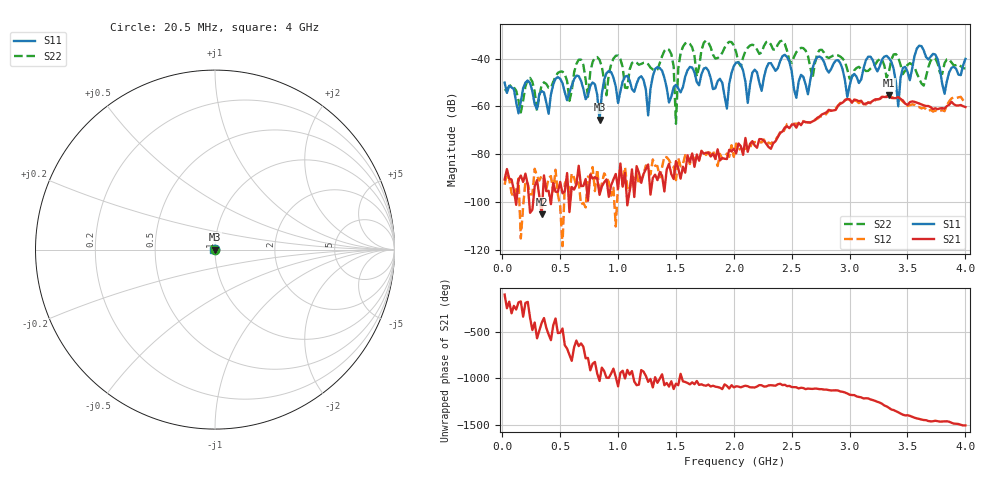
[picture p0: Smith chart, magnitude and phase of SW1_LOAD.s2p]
# Hz S DB R 50
! CMT, S5180, 51801906, 22.3.3/1
! Date: 27/01/2023 17:17:11
! Data: Format (Calibration Info)
! Freq	S11:dB/Ang(F2)	S21:dB/Ang(F2)	S12:dB/Ang(F2)	S22:dB/Ang(F2)
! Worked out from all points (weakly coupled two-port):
!   200 points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, 20.5 MHz to 4 GHz, reference 50 ohm
!   highest |S21| = -55.27 dB at 3.34 GHz (marker M1); lowest = -105.0 dB at 340.5 MHz (marker M2)
!   lowest |S11| = -65.5 dB at 840.4 MHz (marker M3), VSWR 1.00, Z = 50 + j0.0446 ohm
!   |S11| at or under -10 dB: start of sweep to end of sweep
!   |S22| runs from -67.2 to -32.5 dB; largest |S21 - S12| = 0.00055
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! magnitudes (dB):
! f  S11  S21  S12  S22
! 20.5 MHz  -50.0  -90.5  -92.6  -53.4
! 340.5 MHz  -53.6  -105.0  -88.8  -51.0
! 700.4 MHz  -52.7  -93.2  -100.2  -42.6
! 740.4 MHz  -55.5  -99.3  -89.2  -55.9
! 840.4 MHz  -65.5  -96.9  -96.4  -40.5
! 920.4 MHz  -45.2  -97.7  -91.5  -46.5
! 1.26 GHz  -63.7  -84.2  -85.0  -42.4
! 1.36 GHz  -44.0  -87.3  -89.6  -42.0
! 1.46 GHz  -56.0  -88.2  -84.5  -38.2
! 1.5 GHz  -51.0  -82.8  -90.8  -67.2
! 1.52 GHz  -52.4  -85.8  -81.5  -44.0
! 1.58 GHz  -47.5  -87.6  -80.3  -33.7
! 1.94 GHz  -60.9  -81.9  -79.7  -33.9
! 2.02 GHz  -41.7  -79.6  -75.4  -37.3
! 2.12 GHz  -58.5  -78.9  -77.2  -35.5
! 2.68 GHz  -44.1  -66.2  -66.2  -48.2
! 2.98 GHz  -56.0  -56.9  -56.9  -44.6
! 3.34 GHz  -39.8  -55.3  -55.4  -45.6
! 3.42 GHz  -59.9  -56.1  -56.4  -39.6
! 3.6 GHz  -34.7  -58.7  -60.2  -48.3
! 3.82 GHz  -54.7  -60.9  -62.0  -41.9
! 4 GHz  -40.1  -60.2  -58.5  -44.1
